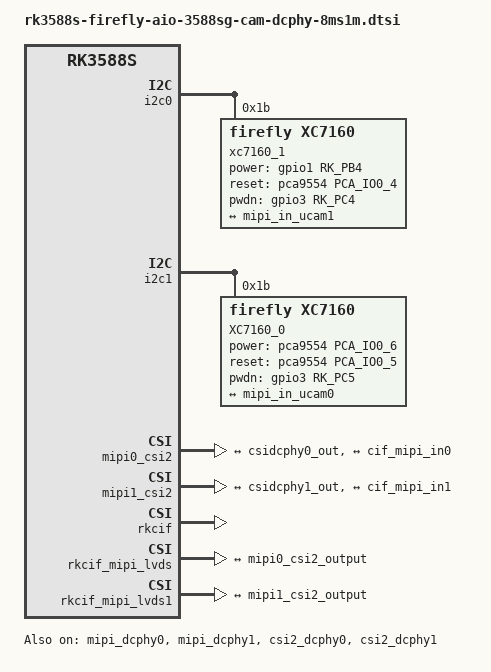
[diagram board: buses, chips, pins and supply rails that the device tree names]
// SPDX-License-Identifier: (GPL-2.0+ OR MIT)
/*
 * Copyright (c) 2021 Rockchip Electronics Co., Ltd.
 *
 */

/ {
};

&mipi_dcphy0 {
        status = "okay";
};

&mipi_dcphy1 {
        status = "okay";
};

&csi2_dcphy0 {
	status = "okay";

        ports {
                #address-cells = <1>;
                #size-cells = <0>;
                port@0 {
                        reg = <0>;
                        #address-cells = <1>;
                        #size-cells = <0>;

                        mipi_in_ucam0: endpoint@1 {
                                reg = <1>;
                                remote-endpoint = <&xc7160_out0>;
                                data-lanes = <1 2>;
                        };
                };
                port@1 {
                        reg = <1>;
                        #address-cells = <1>;
                        #size-cells = <0>;

                        csidcphy0_out: endpoint@0 {
                                reg = <0>;
                                remote-endpoint = <&mipi0_csi2_input>;
                        };
                };
        };
};

&csi2_dcphy1 {
        status = "okay";

        ports {
                #address-cells = <1>;
                #size-cells = <0>;
                port@0 {
                        reg = <0>;
                        #address-cells = <1>;
                        #size-cells = <0>;

                        mipi_in_ucam1: endpoint@1 {
                                reg = <1>;
                                remote-endpoint = <&xc7160_out1>;
                                data-lanes = <1 2>;
                        };
                };
                port@1 {
                        reg = <1>;
                        #address-cells = <1>;
                        #size-cells = <0>;

                        csidcphy1_out: endpoint@0 {
                                reg = <0>;
                                remote-endpoint = <&mipi1_csi2_input>;
                        };
                };
        };
};

&i2c0{
        status = "okay";
        pinctrl-names = "default";
	pinctrl-0 = <&i2c0m2_xfer>;

        xc7160_1: xc7160-1@1b {

               status = "okay";
               compatible = "firefly,xc7160";
               reg = <0x1b>;
               clocks = <&cru CLK_MIPI_CAMARAOUT_M3>;
               clock-names = "xvclk";
               pinctrl-names = "default";
               pinctrl-0 = <&mipim0_camera3_clk>;
               power-domains = <&power RK3588_PD_VI>;

               power-gpios = <&gpio1 RK_PB4 GPIO_ACTIVE_HIGH>;
               reset-gpios = <&pca9554 PCA_IO0_4 GPIO_ACTIVE_HIGH>;
               pwdn-gpios = <&gpio3 RK_PC4 GPIO_ACTIVE_HIGH>;

               firefly,clkout-enabled-index = <0>;
               rockchip,camera-module-index = <2>;
               rockchip,camera-module-facing = "back";
               rockchip,camera-module-name = "NC";
               rockchip,camera-module-lens-name = "NC";
               port {
                       xc7160_out1: endpoint {
                               remote-endpoint = <&mipi_in_ucam1>;
                               data-lanes = <1 2>;
                       };
               };
       };

};


&i2c1{
        status = "okay";
        pinctrl-names = "default";
	pinctrl-0 = <&i2c1m4_xfer>;

        XC7160_0: XC7160-0@1b{
               status = "okay";
               compatible = "firefly,xc7160";
               reg = <0x1b>;
	       clocks = <&cru CLK_MIPI_CAMARAOUT_M4>;
               clock-names = "xvclk";
               pinctrl-names = "default";
	        pinctrl-0 = <&mipim0_camera4_clk>;
               power-domains = <&power RK3588_PD_VI>;
            
               power-gpios = <&pca9554 PCA_IO0_6 GPIO_ACTIVE_HIGH>;
               reset-gpios = <&pca9554 PCA_IO0_5 GPIO_ACTIVE_HIGH>;
               pwdn-gpios = <&gpio3 RK_PC5 GPIO_ACTIVE_HIGH>;

               //avdd-supply = <&vcc_mipidcphy0>;
               firefly,clkout-enabled-index = <0>;
               rockchip,camera-module-index = <1>;
               rockchip,camera-module-facing = "front";
               rockchip,camera-module-name = "NC";
               rockchip,camera-module-lens-name = "NC";
               port {
                       xc7160_out0: endpoint {
                               remote-endpoint = <&mipi_in_ucam0>;
                               data-lanes = <1 2>;
                       };
               };
       };

};

&mipi0_csi2 {
        status = "okay";

        ports {
                #address-cells = <1>;
                #size-cells = <0>;

                port@0 {
                        reg = <0>;
                        #address-cells = <1>;
                        #size-cells = <0>;

                        mipi0_csi2_input: endpoint@1 {
                                reg = <1>;
                                remote-endpoint = <&csidcphy0_out>;
                        };
                };

                port@1 {
                        reg = <1>;
                        #address-cells = <1>;
                        #size-cells = <0>;

                        mipi0_csi2_output: endpoint@0 {
                                reg = <0>;
                                remote-endpoint = <&cif_mipi_in0>;
                        };
                };
        };
};

&mipi1_csi2 {
        status = "okay";

        ports {
                #address-cells = <1>;
                #size-cells = <0>;

                port@0 {
                        reg = <0>;
                        #address-cells = <1>;
                        #size-cells = <0>;

                        mipi1_csi2_input: endpoint@1 {
                                reg = <1>;
                                remote-endpoint = <&csidcphy1_out>;
                        };
                };

                port@1 {
                        reg = <1>;
                        #address-cells = <1>;
                        #size-cells = <0>;

                        mipi1_csi2_output: endpoint@0 {
                                reg = <0>;
                                remote-endpoint = <&cif_mipi_in1>;
                        };
                };
        };
};

&rkcif {
	status = "okay";
};

&rkcif_mipi_lvds {
        status = "okay";

        port {
                cif_mipi_in0: endpoint {
                        remote-endpoint = <&mipi0_csi2_output>;
                };
        };
};

&rkcif_mipi_lvds1 {
        status = "okay";

        port {
                cif_mipi_in1: endpoint {
                        remote-endpoint = <&mipi1_csi2_output>;
                };
        };
};

&rkcif_mmu {
	status = "okay";
};

&spi0{
        status = "disabled";
};

&uart4{
        status = "disabled";
};


&uart5{
        status = "disabled";
};

&i2c8{
        status = "disabled";

};
